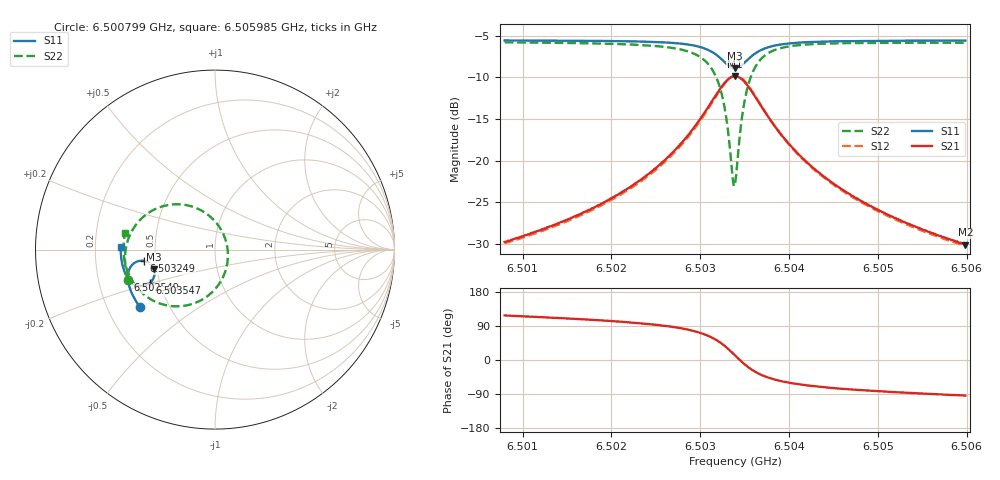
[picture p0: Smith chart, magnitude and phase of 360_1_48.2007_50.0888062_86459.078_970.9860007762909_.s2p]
#  HZ  S  RI  R  50.00
! Rohde & Schwarz Vector Network Analyzer
! Rohde-Schwarz,ZNB20-2Port,1311601062101988,3.16
! Created: UTC 3/20/2024, 11:52:09 AM
! freq[Hz]  re:S11  im:S11  re:S21  im:S21  re:S12  im:S12  re:S22  im:S22
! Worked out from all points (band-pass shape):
!   401 points, 6.500799 GHz to 6.505985 GHz, reference 50 ohm
!   highest |S21| = -9.86 dB at 6.503392 GHz (marker M1); lowest = -30.1 dB at 6.505985 GHz (marker M2)
!   |S21| within 3 dB of the highest: 6.503133 GHz to 6.503651 GHz (518.6 kHz wide, 0.00797 % of centre)
!   lowest |S11| = -8.9 dB at 6.503392 GHz (marker M3), VSWR 2.11, Z = 24.1 - j6.1 ohm
!   |S11| at or under -10 dB: nowhere
!   |S22| runs from -23.0 to -5.8 dB; largest |S21 - S12| = 0.011
!   S11 on the Smith chart (normalised r, x): 6.500799 GHz: 0.34, -0.30; 6.502549 GHz: 0.33, -0.15; 6.503249 GHz: 0.43, -0.06; 6.503547 GHz: 0.44, -0.20; 6.505985 GHz: 0.31, +0.01
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6.5007985e9  -0.4193 -0.3184  -0.0151 0.0288  -0.0134 0.029  -0.4853 -0.1678
6.5016672e9  -0.4576 -0.2555  -0.0145 0.0462  -0.0122 0.0457  -0.501 -0.0778
6.5021469e9  -0.4752 -0.2139  -0.0119 0.065  -0.00886 0.0641  -0.4993 -0.0119
6.5025359e9  -0.485 -0.1721  -0.00347 0.0938  0.000195 0.0914  -0.4814 0.0629
6.5025489e9  -0.4851 -0.1704  -0.00287 0.0949  0.000788 0.0928  -0.4803 0.0661
6.5028341e9  -0.4835 -0.1288  0.0201 0.1346  0.0239 0.1305  -0.4326 0.1483
6.5030286e9  -0.4668 -0.0915  0.0661 0.1751  0.0688 0.1692  -0.3439 0.2204
6.5031582e9  -0.4354 -0.0672  0.1342 0.1978  0.1353 0.1915  -0.2202 0.2527
6.503249e9  -0.3979 -0.062  0.2092 0.1882  0.2095 0.1829  -0.0898 0.2251
6.5033009e9  -0.3726 -0.0704  0.2569 0.1609  0.2576 0.1563  -0.0109 0.1691
6.5033657e9  -0.3464 -0.0961  0.3041 0.0989  0.3065 0.0939  0.0603 0.0498
6.5033916e9  -0.34 -0.1103  0.3142 0.0674  0.3172 0.0616  0.0712 -0.00869
6.5034046e9  -0.3381 -0.1179  0.317 0.0509  0.3201 0.0446  0.072 -0.0388
6.5034824e9  -0.3439 -0.1617  0.3007 -0.0418  0.3026 -0.0515  0.0161 -0.2008
6.5035472e9  -0.3645 -0.1871  0.259 -0.0952  0.2578 -0.1059  -0.0778 -0.2822
6.5036509e9  -0.4033 -0.2019  0.1861 -0.1309  0.181 -0.14  -0.2241 -0.316
6.5038195e9  -0.4486 -0.1921  0.1064 -0.1282  0.0996 -0.1331  -0.3681 -0.2708
6.504001e9  -0.4755 -0.1707  0.0628 -0.109  0.0567 -0.111  -0.4388 -0.2072
6.5042603e9  -0.4961 -0.1407  0.0333 -0.0852  0.0287 -0.0858  -0.4814 -0.1363
6.5046622e9  -0.5121 -0.0995  0.0142 -0.0622  0.0111 -0.0619  -0.504 -0.0598
6.505129e9  -0.5211 -0.0569  0.00486 -0.0467  0.00265 -0.046  -0.5096 0.00384
6.5059847e9  -0.5258 0.015  -0.0021 -0.0312  -0.0034 -0.0305  -0.5014 0.0924
